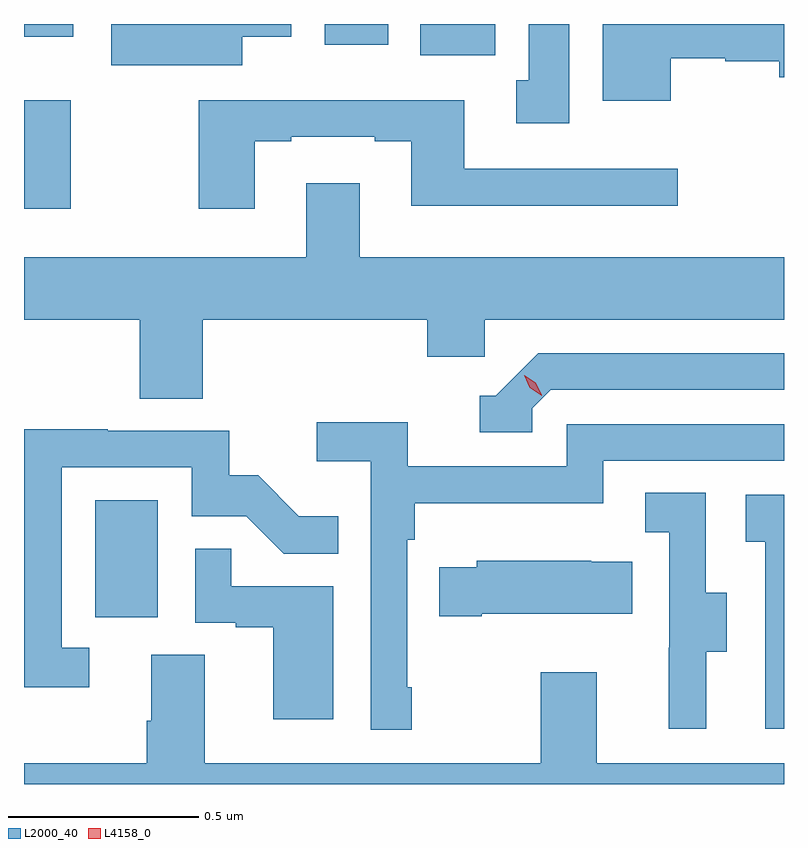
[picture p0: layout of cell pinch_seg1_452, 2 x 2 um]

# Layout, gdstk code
import gdstk
lib = gdstk.Library(unit=1e-6, precision=1e-09)
def R(c, l, rs):  # rectangles x0, y0, x1, y1
    for r in rs: c.add(gdstk.rectangle(r[:2], r[2:], *l))
def P(c, l, *ps):  # polygons
    for p in ps: c.add(gdstk.Polygon(p, *l))
L2000_40 = (2000, 40)
L4158_0 = (4158, 0)

pinch_seg1_452 = lib.new_cell('pinch_seg1_452')
R(pinch_seg1_452, L2000_40, [(998.264,521.645,998.428,521.953), (998.076,522.72,998.199,523.006), (999.119,523.124,999.316,523.206), (998.867,523.152,999.034,523.206), (998.076,523.172,998.206,523.206)])
P(pinch_seg1_452, L2000_40, [(999.778,523.116),(999.921,523.116),(999.921,523.108),(1000.064,523.108),(1000.064,523.066),(1000.076,523.066),(1000.076,523.206),(999.599,523.206),(999.599,523.004),(999.778,523.004)],
  [(999.511,523.206),(999.404,523.206),(999.404,523.058),(999.371,523.058),(999.371,522.945),(999.511,522.945)],
  [(998.65,523.172),(998.779,523.172),(998.779,523.206),(998.306,523.206),(998.306,523.097),(998.65,523.097)],
  [(998.683,522.897),(998.779,522.897),(998.779,522.909),(998.999,522.909),(998.999,522.897),(999.095,522.897),(999.095,522.728),(999.796,522.728),(999.796,522.825),(999.235,522.825),(999.235,523.006),(998.536,523.006),(998.536,522.72),(998.683,522.72)],
  [(998.546,522.428),(999.137,522.428),(999.137,522.33),(999.288,522.33),(999.288,522.428),(1000.076,522.428),(1000.076,522.592),(998.959,522.592),(998.959,522.787),(998.819,522.787),(998.819,522.592),(998.076,522.592),(998.076,522.428),(998.381,522.428),(998.381,522.22),(998.546,522.22)],
  [(999.414,522.195),(999.462,522.243),(1000.076,522.243),(1000.076,522.339),(999.429,522.339),(999.318,522.228),(999.275,522.228),(999.275,522.132),(999.414,522.132)],
  [(999.097,521.461),(999.084,521.461),(999.084,521.849),(999.104,521.849),(999.104,521.945),(999.6,521.945),(999.6,522.057),(1000.076,522.057),(1000.076,522.153),(999.504,522.153),(999.504,522.042),(999.086,522.042),(999.086,522.158),(998.847,522.158),(998.847,522.056),(998.988,522.056),(998.988,521.349),(999.097,521.349)],
  [(998.248,521.565),(998.175,521.565),(998.175,522.039),(998.517,522.039),(998.517,521.91),(998.661,521.91),(998.759,521.812),(998.903,521.812),(998.903,521.911),(998.799,521.911),(998.692,522.018),(998.616,522.018),(998.616,522.135),(998.297,522.135),(998.297,522.14),(998.076,522.14),(998.076,521.46),(998.248,521.46)],
  [(999.871,521.554),(999.925,521.554),(999.925,521.709),(999.87,521.709),(999.87,521.972),(999.711,521.972),(999.711,521.869),(999.774,521.869),(999.774,521.565),(999.773,521.565),(999.773,521.352),(999.871,521.352)],
  [(1000.076,521.967),(999.975,521.967),(999.975,521.843),(1000.026,521.843),(1000.026,521.352),(1000.076,521.352)],
  [(998.89,521.727),(998.621,521.727),(998.621,521.825),(998.526,521.825),(998.526,521.631),(998.633,521.631),(998.633,521.619),(998.732,521.619),(998.732,521.376),(998.89,521.376)],
  [(999.28,521.654),(999.677,521.654),(999.677,521.791),(999.569,521.791),(999.569,521.794),(999.267,521.794),(999.267,521.776),(999.169,521.776),(999.169,521.647),(999.28,521.647)],
  [(1000.076,521.26),(999.583,521.26),(999.583,521.5),(999.436,521.5),(999.436,521.26),(998.551,521.26),(998.551,521.546),(998.411,521.546),(998.411,521.372),(998.399,521.372),(998.399,521.26),(998.076,521.26),(998.076,521.206),(1000.076,521.206)])
P(pinch_seg1_452, L4158_0, [(999.438,522.228),(999.407,522.249),(999.392,522.282),(999.392,522.282),(999.392,522.282),(999.423,522.262),(999.438,522.229),(999.438,522.228)])

lib.write_gds('pinch_seg1_452.gds')
